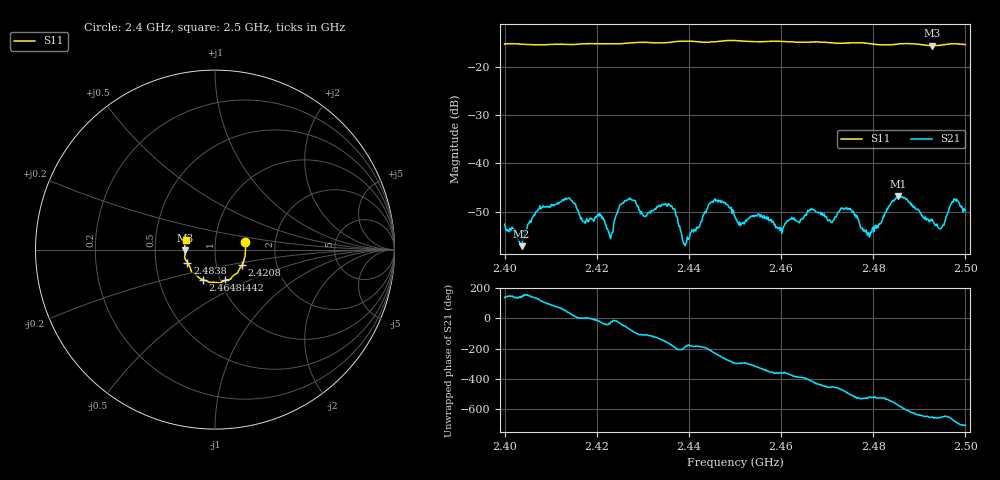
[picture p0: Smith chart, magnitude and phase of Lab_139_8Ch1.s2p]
# Hz S RI R 50
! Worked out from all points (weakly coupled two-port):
!   601 points, 2.4 GHz to 2.5 GHz, reference 50 ohm
!   highest |S21| = -46.81 dB at 2.4853 GHz (marker M1); lowest = -57.2 dB at 2.4037 GHz (marker M2)
!   lowest |S11| = -15.6 dB at 2.4928 GHz (marker M3), VSWR 1.40, Z = 35.8 - j0.345 ohm
!   |S11| at or under -10 dB: start of sweep to end of sweep
!   S12 and S22 are empty: the file has one direction only
!   S11 on the Smith chart (normalised r, x): 2.4 GHz: 1.40, +0.12; 2.4208 GHz: 1.33, -0.24; 2.4442 GHz: 1.05, -0.37; 2.4648 GHz: 0.83, -0.29; 2.4838 GHz: 0.73, -0.11; 2.5 GHz: 0.72, +0.08
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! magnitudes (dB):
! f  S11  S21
! 2.4 GHz  -15.3  -52.6
! 2.4037 GHz  -15.3  -57.2
! 2.408 GHz  -15.4  -49.3
! 2.414 GHz  -15.4  -47.2
! 2.4167 GHz  -15.2  -51.2
! 2.4208 GHz  -15.2  -50.9
! 2.423 GHz  -15.2  -55.6
! 2.4267 GHz  -15.1  -47.5
! 2.4333 GHz  -15.0  -49.0
! 2.4365 GHz  -14.8  -49.4
! 2.4392 GHz  -14.6  -57.1
! 2.4442 GHz  -14.9  -48.8
! 2.45 GHz  -14.5  -51.1
! 2.4648 GHz  -14.9  -51.3
! 2.4667 GHz  -14.8  -49.4
! 2.4747 GHz  -15.0  -49.6
! 2.4792 GHz  -15.2  -55.3
! 2.4833 GHz  -15.5  -49.0
! 2.4838 GHz  -15.4  -48.3
! 2.4853 GHz  -15.3  -46.8
! 2.4928 GHz  -15.6  -51.7
! 2.5 GHz  -15.4  -49.9
